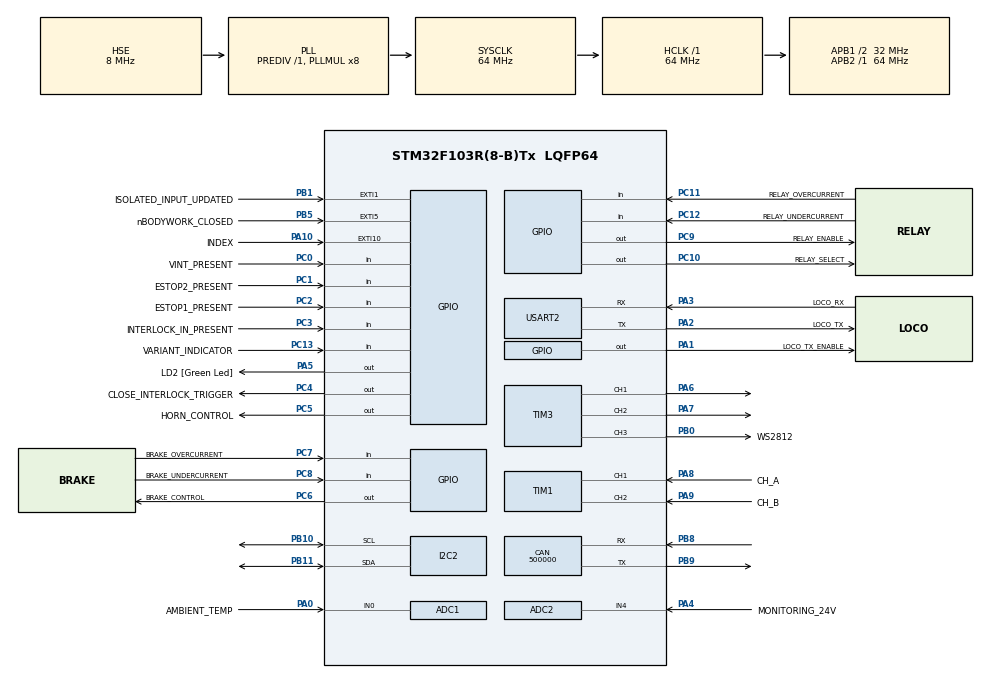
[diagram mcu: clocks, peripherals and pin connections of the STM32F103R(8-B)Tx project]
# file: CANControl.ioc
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ADC1.Channel-4\#ChannelRegularConversion=ADC_CHANNEL_0
ADC1.NbrOfConversionFlag=1
ADC1.Rank-4\#ChannelRegularConversion=1
ADC1.SamplingTime-4\#ChannelRegularConversion=ADC_SAMPLETIME_1CYCLE_5
ADC1.master=1
ADC2.Channel-1\#ChannelRegularConversion=ADC_CHANNEL_4
ADC2.NbrOfConversionFlag=1
ADC2.Rank-1\#ChannelRegularConversion=1
ADC2.SamplingTime-1\#ChannelRegularConversion=ADC_SAMPLETIME_1CYCLE_5
CAN.BS1=CAN_BS1_2TQ
CAN.CalculateBaudRate=500000
CAN.CalculateTimeBit=2000
CAN.CalculateTimeQuantum=500.0
CAN.Mode=CAN_MODE_LOOPBACK
Mcu.Family=STM32F1
Mcu.Name=STM32F103R(8-B)Tx
Mcu.Package=LQFP64
NVIC.CAN1_RX1_IRQn=true\:0\:0\:false\:false\:true\:true\:true\:true
NVIC.EXTI15_10_IRQn=true\:0\:0\:false\:false\:true\:true\:true\:true
NVIC.EXTI1_IRQn=true\:0\:0\:false\:false\:true\:true\:true\:true
NVIC.EXTI9_5_IRQn=true\:0\:0\:false\:false\:true\:true\:true\:true
NVIC.PriorityGroup=NVIC_PRIORITYGROUP_4
NVIC.TIM1_CC_IRQn=true\:0\:0\:false\:false\:true\:true\:true\:true
NVIC.USART2_IRQn=true\:0\:0\:false\:false\:true\:true\:true\:true
NVIC.USB_LP_CAN1_RX0_IRQn=true\:0\:0\:false\:false\:true\:true\:true\:true
PA0-WKUP.GPIO_Label=AMBIENT_TEMP
PA0-WKUP.Signal=ADCx_IN0
PA1.GPIO_Label=LOCO_TX_ENABLE
PA1.Signal=GPIO_Output
PA10.GPIO_Label=INDEX
PA10.Signal=GPXTI10
PA13.GPIO_Label=TMS
PA13.Mode=Serial_Wire
PA13.Signal=SYS_JTMS-SWDIO
PA14.GPIO_Label=TCK
PA14.Mode=Serial_Wire
PA14.Signal=SYS_JTCK-SWCLK
PA2.GPIO_Label=LOCO_TX
PA2.GPIO_Mode=GPIO_MODE_AF_PP
PA2.GPIO_PuPd=GPIO_NOPULL
PA2.GPIO_Speed=GPIO_SPEED_FREQ_LOW
PA2.Mode=Asynchronous
PA2.Signal=USART2_TX
PA3.GPIO_Label=LOCO_RX
PA3.GPIO_Mode=GPIO_MODE_AF_PP
PA3.GPIO_PuPd=GPIO_NOPULL
PA3.GPIO_Speed=GPIO_SPEED_FREQ_LOW
PA3.Mode=Asynchronous
PA3.Signal=USART2_RX
PA4.GPIO_Label=MONITORING_24V
PA4.Signal=ADCx_IN4
PA5.GPIO_Label=LD2 [Green Led]
PA5.GPIO_ModeDefaultOutputPP=GPIO_MODE_OUTPUT_PP
PA5.GPIO_PuPd=GPIO_NOPULL
PA5.GPIO_Speed=GPIO_SPEED_FREQ_LOW
PA5.Signal=GPIO_Output
PA6.Signal=S_TIM3_CH1
PA7.Signal=S_TIM3_CH2
PA8.GPIO_Label=CH_A
PA8.Signal=S_TIM1_CH1
PA9.GPIO_Label=CH_B
PA9.Signal=S_TIM1_CH2
PB0.GPIO_Label=WS2812
PB0.Signal=S_TIM3_CH3
PB1.GPIO_Label=ISOLATED_INPUT_UPDATED
PB1.Signal=GPXTI1
PB10.Mode=I2C
PB10.Signal=I2C2_SCL
PB11.Mode=I2C
PB11.Signal=I2C2_SDA
PB3.Signal=SYS_JTDO-TRACESWO
PB5.GPIO_Label=nBODYWORK_CLOSED
PB5.Signal=GPXTI5
PB8.Mode=CAN_Activate
PB8.Signal=CAN_RX
PB9.Mode=CAN_Activate
PB9.Signal=CAN_TX
PC0.GPIO_Label=VINT_PRESENT
PC0.Signal=GPIO_Input
PC1.GPIO_Label=ESTOP2_PRESENT
PC1.Signal=GPIO_Input
PC10.GPIO_Label=RELAY_SELECT
PC10.Signal=GPIO_Output
PC11.GPIO_Label=RELAY_OVERCURRENT
PC11.Signal=GPIO_Input
PC12.GPIO_Label=RELAY_UNDERCURRENT
PC12.Signal=GPIO_Input
PC13-TAMPER-RTC.GPIO_Label=VARIANT_INDICATOR
PC13-TAMPER-RTC.Signal=GPIO_Input
PC14-OSC32_IN.Signal=RCC_OSC32_IN
PC15-OSC32_OUT.Signal=RCC_OSC32_OUT
PC2.GPIO_Label=ESTOP1_PRESENT
PC2.Signal=GPIO_Input
PC3.GPIO_Label=INTERLOCK_IN_PRESENT
PC3.Signal=GPIO_Input
PC4.GPIO_Label=CLOSE_INTERLOCK_TRIGGER
PC4.Signal=GPIO_Output
PC5.GPIO_Label=HORN_CONTROL
PC5.Signal=GPIO_Output
PC6.GPIO_Label=BRAKE_CONTROL
PC6.Signal=GPIO_Output
PC7.GPIO_Label=BRAKE_OVERCURRENT
PC7.Signal=GPIO_Input
PC8.GPIO_Label=BRAKE_UNDERCURRENT
PC8.Signal=GPIO_Input
PC9.GPIO_Label=RELAY_ENABLE
PC9.Signal=GPIO_Output
PD0-OSC_IN.Mode=HSE-External-Oscillator
PD0-OSC_IN.Signal=RCC_OSC_IN
PD1-OSC_OUT.Mode=HSE-External-Oscillator
PD1-OSC_OUT.Signal=RCC_OSC_OUT
ProjectManager.HeapSize=0x200
ProjectManager.StackSize=0x400
ProjectManager.TargetToolchain=STM32CubeIDE
RCC.ADCPresc=RCC_ADCPCLK2_DIV6
RCC.AHBFreq_Value=64000000
RCC.APB1CLKDivider=RCC_HCLK_DIV2
RCC.APB1Freq_Value=32000000
RCC.APB1TimFreq_Value=64000000
RCC.APB2Freq_Value=64000000
RCC.APB2TimFreq_Value=64000000
RCC.HCLKFreq_Value=64000000
RCC.PLLMUL=RCC_PLL_MUL8
RCC.PLLSourceVirtual=RCC_PLLSOURCE_HSE
RCC.RTCClockSelection=RCC_RTCCLKSOURCE_LSE
RCC.SYSCLKFreq_VALUE=64000000
RCC.SYSCLKSource=RCC_SYSCLKSOURCE_PLLCLK
RCC.USBFreq_Value=64000000
SH.ADCx_IN0.0=ADC1_IN0,IN0
SH.ADCx_IN4.0=ADC1_IN4
SH.ADCx_IN4.1=ADC2_IN4,IN4
SH.S_TIM1_CH1.0=TIM1_CH1,Encoder_Interface
SH.S_TIM1_CH2.0=TIM1_CH2,Encoder_Interface
SH.S_TIM3_CH1.0=TIM3_CH1,PWM Generation1 CH1
SH.S_TIM3_CH2.0=TIM3_CH2,PWM Generation2 CH2
SH.S_TIM3_CH3.0=TIM3_CH3,PWM Generation3 CH3
TIM3.Channel-PWM\ Generation1\ CH1=TIM_CHANNEL_1
TIM3.Channel-PWM\ Generation2\ CH2=TIM_CHANNEL_2
TIM3.Channel-PWM\ Generation3\ CH3=TIM_CHANNEL_3
USART2.VirtualMode=VM_ASYNC
board=NUCLEO-F103RB

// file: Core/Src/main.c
/* USER CODE BEGIN Header */
/**
  ******************************************************************************
  * @file           : main.c
  * @brief          : Main program body
  ******************************************************************************
  * @attention
  *
  * Copyright (c) 2022 STMicroelectronics.
  * All rights reserved.
  *
  * This software is licensed under terms that can be found in the LICENSE file
  * in the root directory of this software component.
  * If no LICENSE file comes with this software, it is provided AS-IS.
  *
  ******************************************************************************
  */
/* USER CODE END Header */
#include "main.h"

ADC_HandleTypeDef hadc1;
ADC_HandleTypeDef hadc2;

CAN_HandleTypeDef hcan;

I2C_HandleTypeDef hi2c2;

TIM_HandleTypeDef htim1;
TIM_HandleTypeDef htim3;

UART_HandleTypeDef huart2;

void SystemClock_Config(void);
static void MX_GPIO_Init(void);
static void MX_USART2_UART_Init(void);
static void MX_CAN_Init(void);
static void MX_ADC1_Init(void);
static void MX_TIM1_Init(void);
static void MX_TIM3_Init(void);
static void MX_I2C2_Init(void);
static void MX_ADC2_Init(void);

/* USER CODE BEGIN 0 */

// CAN stuff ////////////////////////////////////////////////
CAN_TxHeaderTypeDef tx_header;
CAN_RxHeaderTypeDef rx_header;
uint8_t tx_data[8];
uint8_t rx_data[8];
uint32_t tx_mailbox;

int datacheck = 1;
int j = 0;

// TPM400 Stuff //////////////////////////////////////////////////////////////////

// Motor controller node id as set in config, not same as message id
uint8_t node_id = 0x05;

// Register numbers
enum {
	HEADING = 234, HEADING_NET_SELECT = 235
};

void send_data()
{
	tx_header.ExtId = 0x60;			// Message id
	tx_header.IDE = CAN_ID_EXT;		// Extended 29 bit id
	tx_header.RTR = CAN_RTR_DATA;	// Data frame
	tx_header.DLC = 8;				// 8 bytes
	tx_header.TransmitGlobalTime = DISABLE;

//	HAL_CAN_AddTxMessage(hcan, &tx_header, tx_data, &tx_mailbox);

	if (HAL_CAN_AddTxMessage(&hcan, &tx_header, tx_data, &tx_mailbox) != HAL_OK)
	{
		Error_Handler();
	}

	// Wait for ongoing transmissions to complete
	while (HAL_CAN_GetTxMailboxesFreeLevel(&hcan) != 3)
	{
	}
}
// Read data received over CAN bus
void read_data()
{
	if (HAL_CAN_GetRxMessage(&hcan, CAN_RX_FIFO1, &rx_header, rx_data) != HAL_OK) {
		Error_Handler();
	}

	if (rx_header.DLC == 8)
	{
		datacheck = 1;
	}

	HAL_GPIO_WritePin(LD2_GPIO_Port, LD2_Pin, (GPIO_PinState)1);
}

// CAN Message received ////////////////////////////////////////////////
void HAL_CAN_RxFifo1MsgPendingCallback(CAN_HandleTypeDef *hcan)
{
/*	HAL_CAN_GetRxMessage(hcan, CAN_RX_FIFO1, &rx_header, rx_data);
	if (rx_header.DLC == 8)
	{
		datacheck = 1;
	}*/
	read_data();
}

// Enable CAN heading control on motor controller
void enable_can_control()
{
	// Set HEADING_NET_SELECT to 0xaa
	uint8_t reg_low = HEADING_NET_SELECT & 0xff;
	uint8_t reg_high = (HEADING_NET_SELECT >> 8) & 0xff;
	uint8_t rw_byte = node_id + 64;

	tx_data[0] = node_id;
	tx_data[1] = reg_low;
	tx_data[2] = reg_high;
	tx_data[3] = rw_byte;
	tx_data[4] = 0xaa;
	tx_data[5] = 0x00;
	tx_data[6] = 0x00;
	tx_data[7] = 0x00;

	send_data();
}

// Set motor controller heading over CAN, -4000 to 4000
void set_heading(int16_t heading)
{
	// -4000 = 0xf060
	// +4000 = 0x0fa0

	uint8_t reg_low = HEADING & 0xff;
	uint8_t reg_high = (HEADING >> 8) & 0xff;
	uint8_t rw_byte = node_id + 64;
	uint8_t heading_low = heading & 0xff;
	uint8_t heading_high = (heading >> 8) & 0xff;

	tx_data[0] = node_id;
	tx_data[1] = reg_low;
	tx_data[2] = reg_high;
	tx_data[3] = rw_byte;
	tx_data[4] = heading_low;
	tx_data[5] = heading_high;
	tx_data[6] = 0x00;
	tx_data[7] = 0x00;

	send_data();
}
////////////////////////////////////////////////////////////////////////////////////

// Encoder Position ////////////////////////////////////////////////////
uint32_t counter = 0;
int16_t count = 0;

int16_t position; // used in UserCode0 of stm32f1xx_it.c
double speed = 0;
double rpm = 0;

void HAL_TIM_IC_CaptureCallback(TIM_HandleTypeDef *htim)
{
	counter = __HAL_TIM_GET_COUNTER(htim);
	count = (int16_t)counter;
	position = count;
}
////////////////////////////////////////////////////////////////////////
/* USER CODE END 0 */

int main(void)
{

  /* MCU Configuration--------------------------------------------------------*/

  /* Reset of all peripherals, Initializes the Flash interface and the Systick. */
  HAL_Init();

  /* Configure the system clock */
  SystemClock_Config();

  /* Initialize all configured peripherals */
  MX_GPIO_Init();
  MX_USART2_UART_Init();
  MX_CAN_Init();
  MX_ADC1_Init();
  MX_TIM1_Init();
  MX_TIM3_Init();
  MX_I2C2_Init();
  MX_ADC2_Init();
  /* USER CODE BEGIN 2 */

  HAL_CAN_Start(&hcan);
  // Activate the notification
  HAL_CAN_ActivateNotification(&hcan, CAN_IT_RX_FIFO1_MSG_PENDING);

  // Activate the encoder
  HAL_TIM_Encoder_Start_IT(&htim1, TIM_CHANNEL_ALL);

  /* USER CODE END 2 */

  /* Infinite loop */
  while (1)
  {

    /* USER CODE BEGIN 3 */

	  enable_can_control();

	  HAL_Delay(1000);

	  if (datacheck == 2)
	  {

		  tx_header.DLC = 8;  // data length
		  tx_header.IDE = CAN_ID_STD;
		  tx_header.RTR = CAN_RTR_DATA;
		  tx_header.StdId = 0x103;  // ID

		  tx_data[0] = 23;  // ms delay
		  tx_data[1] = 24;  // loop rep
		  tx_data[2] = 25;  // ms delay
		  tx_data[3] = 26;  // loop rep
		  tx_data[4] = 27;  // ms delay
		  tx_data[5] = 28;  // loop rep
		  tx_data[6] = 29;  // ms delay
		  tx_data[7] = 30;  // loop rep

	  		  // blink the LED
		  for (int i=0; i<8; i++)
		  {
			  HAL_GPIO_TogglePin(LD2_GPIO_Port, LD2_Pin);
			  HAL_Delay(rx_data[i]*10);
		  }

		  datacheck = 0;

		  HAL_CAN_AddTxMessage(&hcan, &tx_header, tx_data, &tx_mailbox);
		  HAL_Delay(100);
		  j++;
		  for (int i=0; i<8; i++)
		  {
			  if(tx_data[i]<255)
			  {
				  tx_data[i] = tx_data[i] + 1;
			  }
			  else
			  {
				  tx_data[i] = 1;
			  }
		  }

		  HAL_Delay(100);
	  }
  }
  /* USER CODE END 3 */
}

void SystemClock_Config(void)
{
  RCC_OscInitTypeDef RCC_OscInitStruct = {0};
  RCC_ClkInitTypeDef RCC_ClkInitStruct = {0};
  RCC_PeriphCLKInitTypeDef PeriphClkInit = {0};

  /** Initializes the RCC Oscillators according to the specified parameters
  * in the RCC_OscInitTypeDef structure.
  */
  RCC_OscInitStruct.OscillatorType = RCC_OSCILLATORTYPE_HSE;
  RCC_OscInitStruct.HSEState = RCC_HSE_ON;
  RCC_OscInitStruct.HSEPredivValue = RCC_HSE_PREDIV_DIV1;
  RCC_OscInitStruct.HSIState = RCC_HSI_ON;
  RCC_OscInitStruct.PLL.PLLState = RCC_PLL_ON;
  RCC_OscInitStruct.PLL.PLLSource = RCC_PLLSOURCE_HSE;
  RCC_OscInitStruct.PLL.PLLMUL = RCC_PLL_MUL8;
  if (HAL_RCC_OscConfig(&RCC_OscInitStruct) != HAL_OK)
  {
    Error_Handler();
  }

  /** Initializes the CPU, AHB and APB buses clocks
  */
  RCC_ClkInitStruct.ClockType = RCC_CLOCKTYPE_HCLK|RCC_CLOCKTYPE_SYSCLK
                              |RCC_CLOCKTYPE_PCLK1|RCC_CLOCKTYPE_PCLK2;
  RCC_ClkInitStruct.SYSCLKSource = RCC_SYSCLKSOURCE_PLLCLK;
  RCC_ClkInitStruct.AHBCLKDivider = RCC_SYSCLK_DIV1;
  RCC_ClkInitStruct.APB1CLKDivider = RCC_HCLK_DIV2;
  RCC_ClkInitStruct.APB2CLKDivider = RCC_HCLK_DIV1;

  if (HAL_RCC_ClockConfig(&RCC_ClkInitStruct, FLASH_LATENCY_2) != HAL_OK)
  {
    Error_Handler();
  }
  PeriphClkInit.PeriphClockSelection = RCC_PERIPHCLK_ADC;
  PeriphClkInit.AdcClockSelection = RCC_ADCPCLK2_DIV6;
  if (HAL_RCCEx_PeriphCLKConfig(&PeriphClkInit) != HAL_OK)
  {
    Error_Handler();
  }
}

static void MX_ADC1_Init(void)
{

  ADC_ChannelConfTypeDef sConfig = {0};

  /** Common config
  */
  hadc1.Instance = ADC1;
  hadc1.Init.ScanConvMode = ADC_SCAN_DISABLE;
  hadc1.Init.ContinuousConvMode = DISABLE;
  hadc1.Init.DiscontinuousConvMode = DISABLE;
  hadc1.Init.ExternalTrigConv = ADC_SOFTWARE_START;
  hadc1.Init.DataAlign = ADC_DATAALIGN_RIGHT;
  hadc1.Init.NbrOfConversion = 1;
  if (HAL_ADC_Init(&hadc1) != HAL_OK)
  {
    Error_Handler();
  }

  /** Configure Regular Channel
  */
  sConfig.Channel = ADC_CHANNEL_0;
  sConfig.Rank = ADC_REGULAR_RANK_1;
  sConfig.SamplingTime = ADC_SAMPLETIME_1CYCLE_5;
  if (HAL_ADC_ConfigChannel(&hadc1, &sConfig) != HAL_OK)
  {
    Error_Handler();
  }

}

static void MX_ADC2_Init(void)
{

  ADC_ChannelConfTypeDef sConfig = {0};

  /** Common config
  */
  hadc2.Instance = ADC2;
  hadc2.Init.ScanConvMode = ADC_SCAN_DISABLE;
  hadc2.Init.ContinuousConvMode = DISABLE;
  hadc2.Init.DiscontinuousConvMode = DISABLE;
  hadc2.Init.ExternalTrigConv = ADC_SOFTWARE_START;
  hadc2.Init.DataAlign = ADC_DATAALIGN_RIGHT;
  hadc2.Init.NbrOfConversion = 1;
  if (HAL_ADC_Init(&hadc2) != HAL_OK)
  {
    Error_Handler();
  }

  /** Configure Regular Channel
  */
  sConfig.Channel = ADC_CHANNEL_4;
  sConfig.Rank = ADC_REGULAR_RANK_1;
  sConfig.SamplingTime = ADC_SAMPLETIME_1CYCLE_5;
  if (HAL_ADC_ConfigChannel(&hadc2, &sConfig) != HAL_OK)
  {
    Error_Handler();
  }

}

static void MX_CAN_Init(void)
{

  hcan.Instance = CAN1;
  hcan.Init.Prescaler = 16;
  hcan.Init.Mode = CAN_MODE_LOOPBACK;
  hcan.Init.SyncJumpWidth = CAN_SJW_1TQ;
  hcan.Init.TimeSeg1 = CAN_BS1_2TQ;
  hcan.Init.TimeSeg2 = CAN_BS2_1TQ;
  hcan.Init.TimeTriggeredMode = DISABLE;
  hcan.Init.AutoBusOff = DISABLE;
  hcan.Init.AutoWakeUp = DISABLE;
  hcan.Init.AutoRetransmission = DISABLE;
  hcan.Init.ReceiveFifoLocked = DISABLE;
  hcan.Init.TransmitFifoPriority = DISABLE;
  if (HAL_CAN_Init(&hcan) != HAL_OK)
  {
    Error_Handler();
  }
  /* USER CODE BEGIN CAN_Init 2 */

  CAN_FilterTypeDef canfilterconfig;

  canfilterconfig.FilterActivation = CAN_FILTER_ENABLE;
  canfilterconfig.FilterBank = 10;  // which filter bank to use from the assigned ones
  canfilterconfig.FilterFIFOAssignment = CAN_FILTER_FIFO1;
  canfilterconfig.FilterIdHigh = 0x103<<5;
  canfilterconfig.FilterIdLow = 0;
  canfilterconfig.FilterMaskIdHigh = 0x103<<5;
  canfilterconfig.FilterMaskIdLow = 0x0000;
  canfilterconfig.FilterMode = CAN_FILTERMODE_IDMASK;
  canfilterconfig.FilterScale = CAN_FILTERSCALE_32BIT;
  canfilterconfig.SlaveStartFilterBank = 0;  // doesn't matter in single can controllers

  HAL_CAN_ConfigFilter(&hcan, &canfilterconfig);

  /* USER CODE END CAN_Init 2 */

}

static void MX_I2C2_Init(void)
{

  hi2c2.Instance = I2C2;
  hi2c2.Init.ClockSpeed = 100000;
  hi2c2.Init.DutyCycle = I2C_DUTYCYCLE_2;
  hi2c2.Init.OwnAddress1 = 0;
  hi2c2.Init.AddressingMode = I2C_ADDRESSINGMODE_7BIT;
  hi2c2.Init.DualAddressMode = I2C_DUALADDRESS_DISABLE;
  hi2c2.Init.OwnAddress2 = 0;
  hi2c2.Init.GeneralCallMode = I2C_GENERALCALL_DISABLE;
  hi2c2.Init.NoStretchMode = I2C_NOSTRETCH_DISABLE;
  if (HAL_I2C_Init(&hi2c2) != HAL_OK)
  {
    Error_Handler();
  }

}

static void MX_TIM1_Init(void)
{

  TIM_Encoder_InitTypeDef sConfig = {0};
  TIM_MasterConfigTypeDef sMasterConfig = {0};

  htim1.Instance = TIM1;
  htim1.Init.Prescaler = 0;
  htim1.Init.CounterMode = TIM_COUNTERMODE_UP;
  htim1.Init.Period = 65535;
  htim1.Init.ClockDivision = TIM_CLOCKDIVISION_DIV1;
  htim1.Init.RepetitionCounter = 0;
  htim1.Init.AutoReloadPreload = TIM_AUTORELOAD_PRELOAD_DISABLE;
  sConfig.EncoderMode = TIM_ENCODERMODE_TI1;
  sConfig.IC1Polarity = TIM_ICPOLARITY_RISING;
  sConfig.IC1Selection = TIM_ICSELECTION_DIRECTTI;
  sConfig.IC1Prescaler = TIM_ICPSC_DIV1;
  sConfig.IC1Filter = 0;
  sConfig.IC2Polarity = TIM_ICPOLARITY_RISING;
  sConfig.IC2Selection = TIM_ICSELECTION_DIRECTTI;
  sConfig.IC2Prescaler = TIM_ICPSC_DIV1;
  sConfig.IC2Filter = 0;
  if (HAL_TIM_Encoder_Init(&htim1, &sConfig) != HAL_OK)
  {
    Error_Handler();
  }
  sMasterConfig.MasterOutputTrigger = TIM_TRGO_RESET;
  sMasterConfig.MasterSlaveMode = TIM_MASTERSLAVEMODE_DISABLE;
  if (HAL_TIMEx_MasterConfigSynchronization(&htim1, &sMasterConfig) != HAL_OK)
  {
    Error_Handler();
  }

}

static void MX_TIM3_Init(void)
{

  TIM_MasterConfigTypeDef sMasterConfig = {0};
  TIM_OC_InitTypeDef sConfigOC = {0};

  htim3.Instance = TIM3;
  htim3.Init.Prescaler = 0;
  htim3.Init.CounterMode = TIM_COUNTERMODE_UP;
  htim3.Init.Period = 65535;
  htim3.Init.ClockDivision = TIM_CLOCKDIVISION_DIV1;
  htim3.Init.AutoReloadPreload = TIM_AUTORELOAD_PRELOAD_DISABLE;
  if (HAL_TIM_PWM_Init(&htim3) != HAL_OK)
  {
    Error_Handler();
  }
  sMasterConfig.MasterOutputTrigger = TIM_TRGO_RESET;
  sMasterConfig.MasterSlaveMode = TIM_MASTERSLAVEMODE_DISABLE;
  if (HAL_TIMEx_MasterConfigSynchronization(&htim3, &sMasterConfig) != HAL_OK)
  {
    Error_Handler();
  }
  sConfigOC.OCMode = TIM_OCMODE_PWM1;
  sConfigOC.Pulse = 0;
  sConfigOC.OCPolarity = TIM_OCPOLARITY_HIGH;
  sConfigOC.OCFastMode = TIM_OCFAST_DISABLE;
  if (HAL_TIM_PWM_ConfigChannel(&htim3, &sConfigOC, TIM_CHANNEL_1) != HAL_OK)
  {
    Error_Handler();
  }
  if (HAL_TIM_PWM_ConfigChannel(&htim3, &sConfigOC, TIM_CHANNEL_2) != HAL_OK)
  {
    Error_Handler();
  }
  if (HAL_TIM_PWM_ConfigChannel(&htim3, &sConfigOC, TIM_CHANNEL_3) != HAL_OK)
  {
    Error_Handler();
  }
  HAL_TIM_MspPostInit(&htim3);

}

static void MX_USART2_UART_Init(void)
{

  huart2.Instance = USART2;
  huart2.Init.BaudRate = 115200;
  huart2.Init.WordLength = UART_WORDLENGTH_8B;
  huart2.Init.StopBits = UART_STOPBITS_1;
  huart2.Init.Parity = UART_PARITY_NONE;
  huart2.Init.Mode = UART_MODE_TX_RX;
  huart2.Init.HwFlowCtl = UART_HWCONTROL_NONE;
  huart2.Init.OverSampling = UART_OVERSAMPLING_16;
  if (HAL_UART_Init(&huart2) != HAL_OK)
  {
    Error_Handler();
  }

}

static void MX_GPIO_Init(void)
{
  GPIO_InitTypeDef GPIO_InitStruct = {0};

  /* GPIO Ports Clock Enable */
  __HAL_RCC_GPIOC_CLK_ENABLE();
  __HAL_RCC_GPIOD_CLK_ENABLE();
  __HAL_RCC_GPIOA_CLK_ENABLE();
  __HAL_RCC_GPIOB_CLK_ENABLE();

  /*Configure GPIO pin Output Level */
  HAL_GPIO_WritePin(GPIOA, LOCO_TX_ENABLE_Pin|LD2_Pin, GPIO_PIN_RESET);

  /*Configure GPIO pin Output Level */
  HAL_GPIO_WritePin(GPIOC, CLOSE_INTERLOCK_TRIGGER_Pin|HORN_CONTROL_Pin|BRAKE_CONTROL_Pin|RELAY_ENABLE_Pin
                          |RELAY_SELECT_Pin, GPIO_PIN_RESET);

  /*Configure GPIO pins : VARIANT_INDICATOR_Pin VINT_PRESENT_Pin ESTOP2_PRESENT_Pin ESTOP1_PRESENT_Pin
                           INTERLOCK_IN_PRESENT_Pin BRAKE_OVERCURRENT_Pin BRAKE_UNDERCURRENT_Pin RELAY_OVERCURRENT_Pin
                           RELAY_UNDERCURRENT_Pin */
  GPIO_InitStruct.Pin = VARIANT_INDICATOR_Pin|VINT_PRESENT_Pin|ESTOP2_PRESENT_Pin|ESTOP1_PRESENT_Pin
                          |INTERLOCK_IN_PRESENT_Pin|BRAKE_OVERCURRENT_Pin|BRAKE_UNDERCURRENT_Pin|RELAY_OVERCURRENT_Pin
                          |RELAY_UNDERCURRENT_Pin;
  GPIO_InitStruct.Mode = GPIO_MODE_INPUT;
  GPIO_InitStruct.Pull = GPIO_NOPULL;
  HAL_GPIO_Init(GPIOC, &GPIO_InitStruct);

  /*Configure GPIO pins : LOCO_TX_ENABLE_Pin LD2_Pin */
  GPIO_InitStruct.Pin = LOCO_TX_ENABLE_Pin|LD2_Pin;
  GPIO_InitStruct.Mode = GPIO_MODE_OUTPUT_PP;
  GPIO_InitStruct.Pull = GPIO_NOPULL;
  GPIO_InitStruct.Speed = GPIO_SPEED_FREQ_LOW;
  HAL_GPIO_Init(GPIOA, &GPIO_InitStruct);

  /*Configure GPIO pins : CLOSE_INTERLOCK_TRIGGER_Pin HORN_CONTROL_Pin BRAKE_CONTROL_Pin RELAY_ENABLE_Pin
                           RELAY_SELECT_Pin */
  GPIO_InitStruct.Pin = CLOSE_INTERLOCK_TRIGGER_Pin|HORN_CONTROL_Pin|BRAKE_CONTROL_Pin|RELAY_ENABLE_Pin
                          |RELAY_SELECT_Pin;
  GPIO_InitStruct.Mode = GPIO_MODE_OUTPUT_PP;
  GPIO_InitStruct.Pull = GPIO_NOPULL;
  GPIO_InitStruct.Speed = GPIO_SPEED_FREQ_LOW;
  HAL_GPIO_Init(GPIOC, &GPIO_InitStruct);

  /*Configure GPIO pins : ISOLATED_INPUT_UPDATED_Pin nBODYWORK_CLOSED_Pin */
  GPIO_InitStruct.Pin = ISOLATED_INPUT_UPDATED_Pin|nBODYWORK_CLOSED_Pin;
  GPIO_InitStruct.Mode = GPIO_MODE_IT_RISING;
  GPIO_InitStruct.Pull = GPIO_NOPULL;
  HAL_GPIO_Init(GPIOB, &GPIO_InitStruct);

  /*Configure GPIO pin : INDEX_Pin */
  GPIO_InitStruct.Pin = INDEX_Pin;
  GPIO_InitStruct.Mode = GPIO_MODE_IT_RISING;
  GPIO_InitStruct.Pull = GPIO_NOPULL;
  HAL_GPIO_Init(INDEX_GPIO_Port, &GPIO_InitStruct);

  /* EXTI interrupt init*/
  HAL_NVIC_SetPriority(EXTI1_IRQn, 0, 0);
  HAL_NVIC_EnableIRQ(EXTI1_IRQn);

  HAL_NVIC_SetPriority(EXTI9_5_IRQn, 0, 0);
  HAL_NVIC_EnableIRQ(EXTI9_5_IRQn);

  HAL_NVIC_SetPriority(EXTI15_10_IRQn, 0, 0);
  HAL_NVIC_EnableIRQ(EXTI15_10_IRQn);

}

void Error_Handler(void)
{
  __disable_irq();
  while (1)
  {
  }
}
